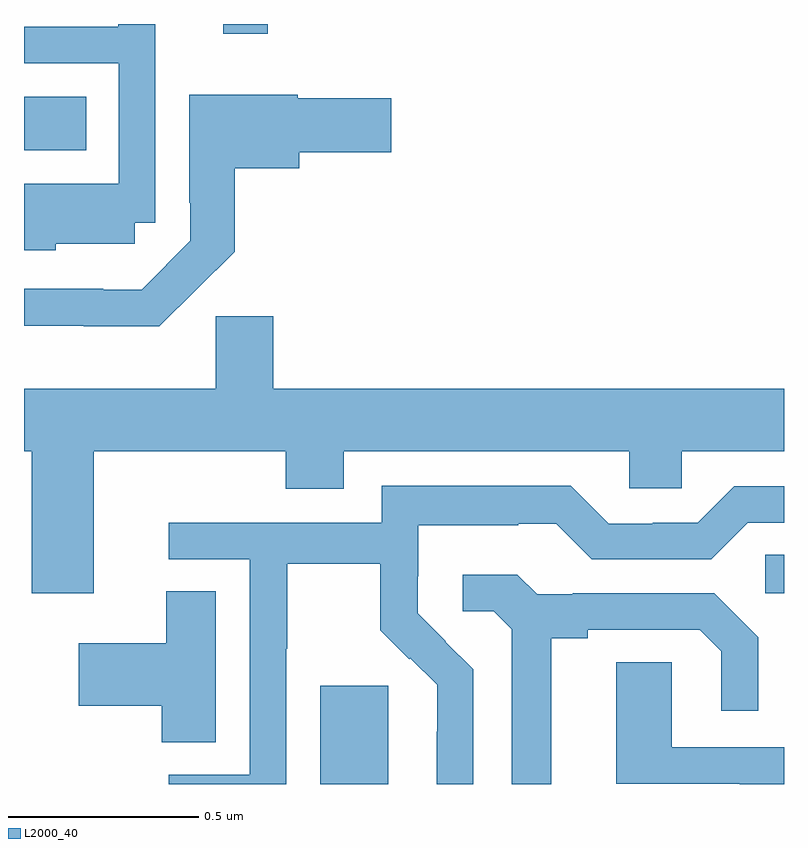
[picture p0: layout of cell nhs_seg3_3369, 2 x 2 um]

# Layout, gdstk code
import gdstk
lib = gdstk.Library(unit=1e-6, precision=1e-09)
def R(c, l, rs):  # rectangles x0, y0, x1, y1
    for r in rs: c.add(gdstk.rectangle(r[:2], r[2:], *l))
def P(c, l, *ps):  # polygons
    for p in ps: c.add(gdstk.Polygon(p, *l))
L2000_40 = (2000, 40)

nhs_seg3_3369 = lib.new_cell('nhs_seg3_3369')
R(nhs_seg3_3369, L2000_40, [(153.779,673.4,153.958,673.659), (154.95,673.902,155,674.003), (153,675.068,153.164,675.208), (153.524,675.375,153.641,675.4)])
P(nhs_seg3_3369, L2000_40, [(153.084,674.822),(153.291,674.822),(153.291,674.877),(153.345,674.877),(153.345,675.4),(153.248,675.4),(153.248,675.393),(153,675.393),(153,675.297),(153.249,675.297),(153.249,674.98),(153,674.98),(153,674.804),(153.084,674.804)],
  [(153.554,674.801),(153.554,675.02),(153.724,675.02),(153.724,675.062),(153.967,675.062),(153.967,675.204),(153.72,675.204),(153.72,675.214),(153.435,675.214),(153.435,674.929),(153.438,674.929),(153.438,674.829),(153.31,674.701),(153.209,674.701),(153.209,674.703),(153,674.703),(153,674.606),(153.157,674.606),(153.157,674.604),(153.356,674.604)],
  [(153.184,674.276),(153.689,674.276),(153.689,674.177),(153.841,674.177),(153.841,674.276),(154.593,674.276),(154.593,674.178),(154.731,674.178),(154.731,674.276),(155,674.276),(155,674.44),(153.656,674.44),(153.656,674.631),(153.505,674.631),(153.505,674.44),(153,674.44),(153,674.276),(153.02,674.276),(153.02,673.902),(153.184,673.902)],
  [(153.69,673.756),(153.693,673.756),(153.693,673.98),(153.937,673.98),(153.937,673.805),(154.014,673.728),(154.017,673.731),(154.088,673.661),(154.088,673.538),(154.086,673.538),(154.086,673.4),(154.182,673.4),(154.182,673.702),(154.109,673.775),(154.11,673.776),(154.036,673.85),(154.036,673.947),(154.038,673.947),(154.038,674.081),(154.301,674.081),(154.301,674.085),(154.401,674.085),(154.494,673.992),(154.809,673.992),(154.905,674.088),(155,674.088),(155,674.184),(154.869,674.184),(154.773,674.088),(154.655,674.088),(154.655,674.085),(154.539,674.085),(154.439,674.185),(153.942,674.185),(153.942,674.088),(153.381,674.088),(153.381,673.992),(153.594,673.992),(153.594,673.425),(153.381,673.425),(153.381,673.4),(153.69,673.4)],
  [(154.387,673.784),(154.483,673.784),(154.483,673.806),(154.778,673.806),(154.835,673.749),(154.835,673.593),(154.932,673.593),(154.932,673.786),(154.816,673.902),(154.444,673.902),(154.444,673.899),(154.35,673.899),(154.298,673.951),(154.155,673.951),(154.155,673.854),(154.236,673.854),(154.283,673.807),(154.283,673.4),(154.387,673.4)],
  [(153.505,673.907),(153.374,673.907),(153.374,673.771),(153.144,673.771),(153.144,673.606),(153.362,673.606),(153.362,673.51),(153.505,673.51)],
  [(155,673.497),(154.704,673.497),(154.704,673.721),(154.559,673.721),(154.559,673.401),(154.883,673.401),(154.883,673.4),(155,673.4)])

lib.write_gds('nhs_seg3_3369.gds')
